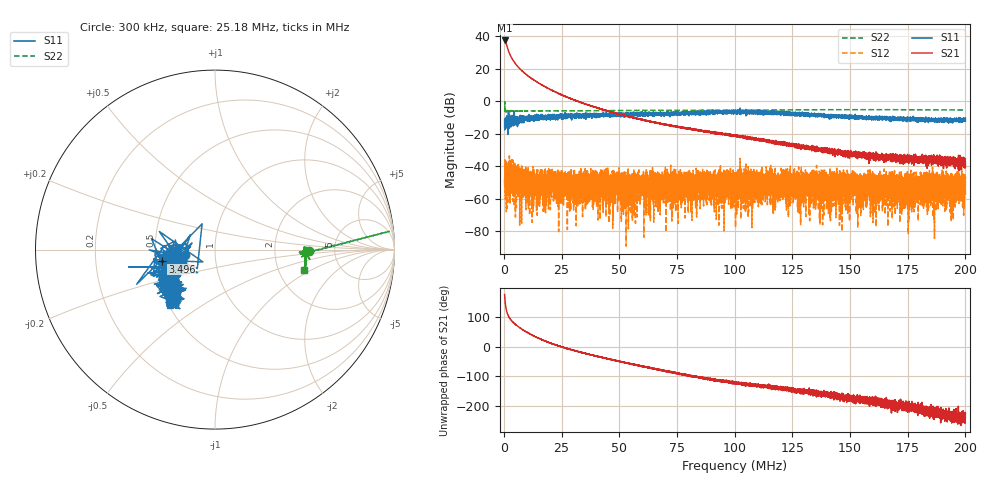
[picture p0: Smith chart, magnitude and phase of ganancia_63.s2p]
# Hz S DB R 50
! CMT, M5065, 19127446, 24.2.4/2
! Date: 11/8/2024 5:37:26 PM
! Data: Format (Calibration Info)
! Freq	S11:dB/Ang(F2)	S21:dB/Ang(F2)	S12:dB/Ang(F2)	S22:dB/Ang(F2)
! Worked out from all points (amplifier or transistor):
!   9000 points, 300 kHz to 200 MHz, reference 50 ohm
!   highest |S21| = 37.5 dB at 322.2 kHz (marker M1)
!   |S21| within 3 dB of that: start of sweep to 1.215 MHz
!   unconditionally stable (mu >= 1): 1.48 MHz to 1.785 MHz; 2.035 MHz to 2.339 MHz; 2.368 MHz to end of sweep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
!   at 33.59 MHz: K = 62.67, MAG = 1.2 dB, |S12| = -45.1 dB
!   at 100.2 MHz: K = 1210.59, MAG = -18.7 dB, |S12| = -51.6 dB
!   at 200 MHz: K = 23163.63, MAG = -35.6 dB, |S12| = -59.5 dB
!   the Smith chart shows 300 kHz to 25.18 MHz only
!   S11 on the Smith chart (normalised r, x): 300 kHz: 0.71, -0.04; 3.496 MHz: 0.54, -0.08; 25.18 MHz: 0.51, -0.37
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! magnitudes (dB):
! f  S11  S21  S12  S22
! 300 kHz  -15.5  37.5  -51.8  -5.6
! 322.2 kHz  -15.2  37.5  -47.1  -5.9
! 1.365 MHz  -10.3  33.8  -42.3  -6.2
! 3.496 MHz  -10.4  26.4  -53.5  -6.0
! 11.17 MHz  -10.1  15.0  -56.9  -5.9
! 17.76 MHz  -9.1  9.1  -53.5  -5.8
! 25.18 MHz  -8.0  4.0  -52.5  -5.8
! 33.59 MHz  -8.8  -0.7  -45.1  -5.8
! 66.87 MHz  -7.6  -13.3  -68.7  -5.5
! 79.5 MHz  -6.8  -16.7  -45.1  -5.5
! 100.2 MHz  -6.3  -21.4  -51.6  -5.4
! 101.4 MHz  -6.6  -21.5  -45.6  -5.4
! 103.7 MHz  -6.2  -21.9  -48.6  -5.4
! 115.2 MHz  -7.1  -24.5  -40.5  -5.3
! 133.4 MHz  -8.6  -28.4  -52.4  -5.1
! 151.4 MHz  -9.6  -33.0  -56.0  -5.1
! 166.7 MHz  -10.6  -35.2  -51.3  -5.1
! 185.2 MHz  -11.9  -35.3  -49.7  -5.2
! 193.9 MHz  -10.9  -37.3  -49.4  -5.3
! 196.3 MHz  -10.5  -39.0  -49.1  -5.3
! 199 MHz  -12.2  -36.5  -65.4  -5.3
! 200 MHz  -12.0  -37.4  -59.5  -5.3
